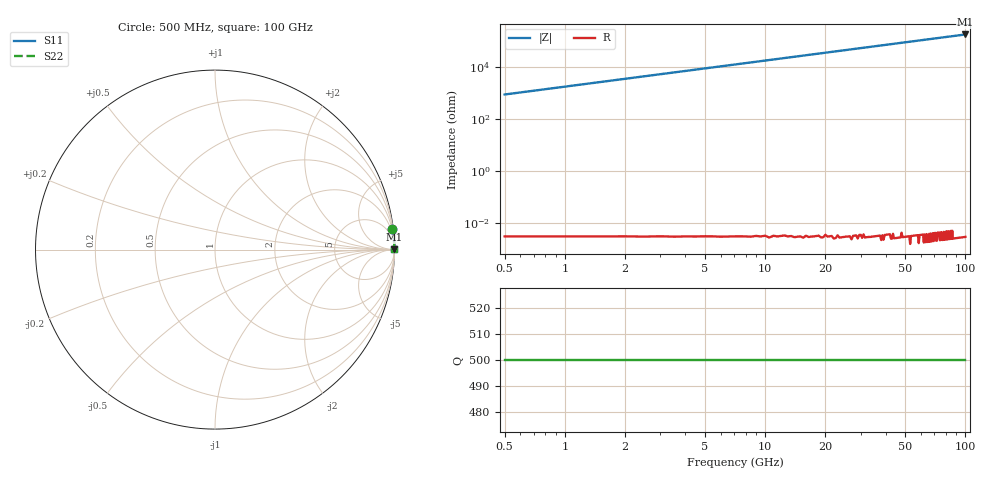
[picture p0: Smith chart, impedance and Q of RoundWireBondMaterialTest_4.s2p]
! File created by SignalIntegrity v1.4.3: Signal and Power Integrity Tools
! https://github.com/Nubis-Communications/SignalIntegrity
! the calculations of this model are from:
! https://www.allaboutcircuits.com/tools/wire-self-inductance-calculator/
# MHz S MA R 50.0
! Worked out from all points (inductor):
!   200 points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, 500 MHz to 100 GHz, reference 50 ohm
!   read as one part in series: L = 276 nH near 1 GHz
!   highest |Z| = 173 kohm at 100 GHz (marker M1)
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500  0.9934 6.6  0.1146 -83.4  0.1146 -83.4  0.9934 6.6
1000  0.9983 3.3  0.05758 -86.7  0.05758 -86.7  0.9983 3.3
1500  0.9993 2.2  0.03842 -87.8  0.03842 -87.8  0.9993 2.2
2000  0.9996 1.7  0.02883 -88.3  0.02883 -88.3  0.9996 1.7
2500  0.9997 1.3  0.02306 -88.7  0.02306 -88.7  0.9997 1.3
3500  0.9999 0.9  0.01648 -89.1  0.01648 -89.1  0.9999 0.9
4000  0.9999 0.8  0.01442 -89.2  0.01442 -89.2  0.9999 0.8
5000  0.9999 0.7  0.01153 -89.3  0.01153 -89.3  0.9999 0.7
6000  1 0.6  0.009612 -89.4  0.009612 -89.4  1 0.6
7000  1 0.5  0.008239 -89.5  0.008239 -89.5  1 0.5
8500  1 0.4  0.006785 -89.6  0.006785 -89.6  1 0.4
10000  1 0.3  0.005767 -89.7  0.005767 -89.7  1 0.3
13500  1 0.2  0.004272 -89.8  0.004272 -89.8  1 0.2
17500  1 0.2  0.003296 -89.8  0.003296 -89.8  1 0.2
21000  1 0.2  0.002746 -89.8  0.002746 -89.8  1 0.2
25000  1 0.1  0.002307 -89.9  0.002307 -89.9  1 0.1
34000  1 0.1  0.001696 -89.9  0.001696 -89.9  1 0.1
42000  1 0.1  0.001373 -89.9  0.001373 -89.9  1 0.1
50500  1 0.1  0.001142 -89.9  0.001142 -89.9  1 0.1
67000  1 0.0  0.000861 -90.0  0.000861 -90.0  1 0.0
83500  1 0.0  0.000691 -90.0  0.000691 -90.0  1 0.0
100000  1 0.0  0.000577 -90.0  0.000577 -90.0  1 0.0
